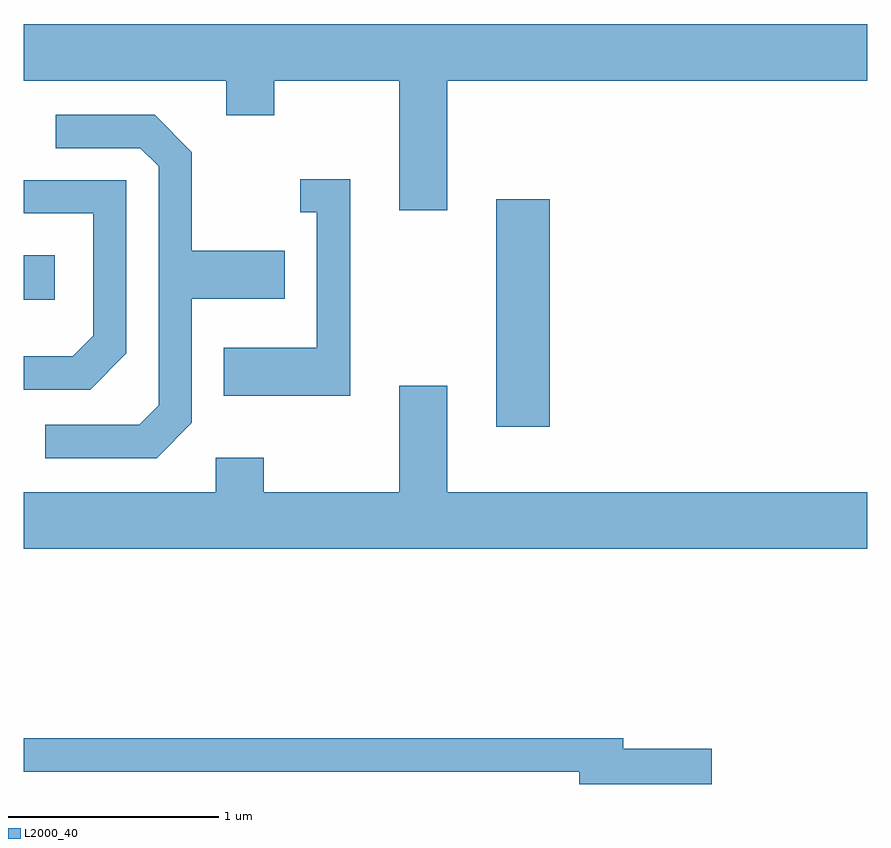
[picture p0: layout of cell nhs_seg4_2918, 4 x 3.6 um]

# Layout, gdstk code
import gdstk
lib = gdstk.Library(unit=1e-6, precision=1e-09)
def R(c, l, rs):  # rectangles x0, y0, x1, y1
    for r in rs: c.add(gdstk.rectangle(r[:2], r[2:], *l))
def P(c, l, *ps):  # polygons
    for p in ps: c.add(gdstk.Polygon(p, *l))
L2000_40 = (2000, 40)

nhs_seg4_2918 = lib.new_cell('nhs_seg4_2918')
R(nhs_seg4_2918, L2000_40, [(271.851,1379.676,272.104,1380.754), (269.611,1380.276,269.759,1380.489)])
P(nhs_seg4_2918, L2000_40, [(271.619,1381.316),(273.611,1381.316),(273.611,1381.584),(269.611,1381.584),(269.611,1381.316),(270.571,1381.316),(270.571,1381.151),(270.799,1381.151),(270.799,1381.316),(271.391,1381.316),(271.391,1380.701),(271.619,1380.701)],
  [(270.409,1379.694),(270.409,1380.281),(270.849,1380.281),(270.849,1380.509),(270.409,1380.509),(270.409,1380.977),(270.232,1381.154),(269.763,1381.154),(269.763,1380.996),(270.164,1380.996),(270.251,1380.909),(270.251,1379.777),(270.159,1379.684),(269.713,1379.684),(269.713,1379.526),(270.242,1379.526)],
  [(271.159,1380.849),(270.923,1380.849),(270.923,1380.691),(271.001,1380.691),(271.001,1380.049),(270.561,1380.049),(270.561,1379.821),(271.159,1379.821)],
  [(270.099,1380.024),(270.099,1380.844),(269.611,1380.844),(269.611,1380.686),(269.941,1380.686),(269.941,1380.107),(269.844,1380.009),(269.611,1380.009),(269.611,1379.851),(269.927,1379.851)],
  [(273.611,1379.364),(271.619,1379.364),(271.619,1379.869),(271.391,1379.869),(271.391,1379.364),(270.749,1379.364),(270.749,1379.529),(270.521,1379.529),(270.521,1379.364),(269.611,1379.364),(269.611,1379.096),(273.611,1379.096)],
  [(272.874,1378.149),(272.454,1378.149),(272.454,1378.199),(269.611,1378.199),(269.611,1378.041),(272.246,1378.041),(272.246,1377.982),(272.874,1377.982)])

lib.write_gds('nhs_seg4_2918.gds')
